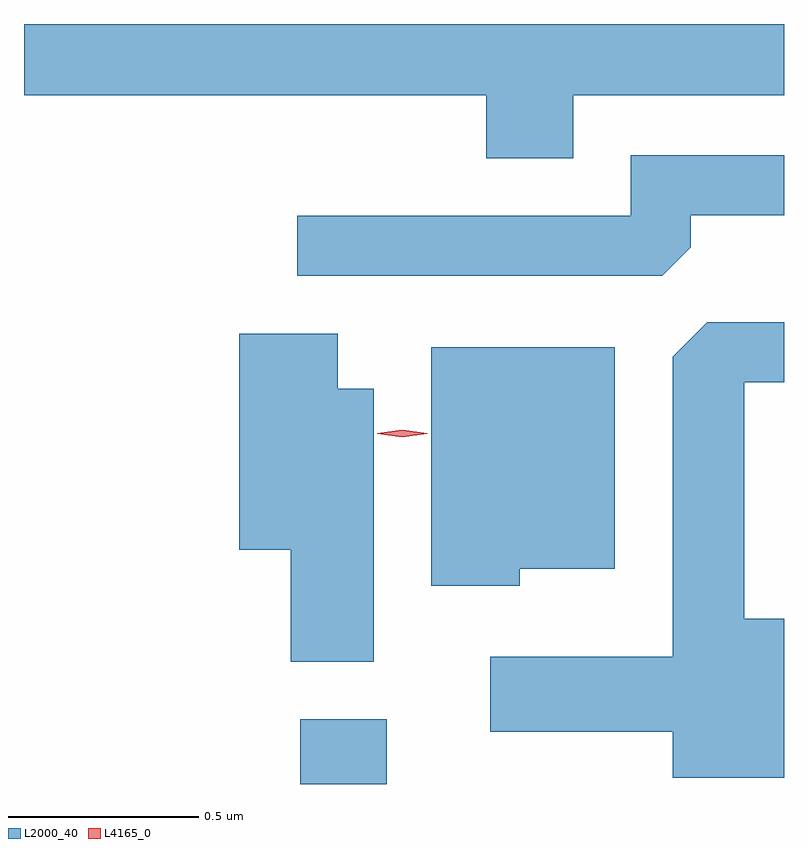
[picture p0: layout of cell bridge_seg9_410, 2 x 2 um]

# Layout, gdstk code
import gdstk
lib = gdstk.Library(unit=1e-6, precision=1e-09)
def R(c, l, rs):  # rectangles x0, y0, x1, y1
    for r in rs: c.add(gdstk.rectangle(r[:2], r[2:], *l))
def P(c, l, *ps):  # polygons
    for p in ps: c.add(gdstk.Polygon(p, *l))
L2000_40 = (2000, 40)
L4165_0 = (4165, 0)

bridge_seg9_410 = lib.new_cell('bridge_seg9_410')
R(bridge_seg9_410, L2000_40, [(971.601,1963.364,971.829,1963.534)])
P(bridge_seg9_410, L2000_40, [(972.319,1965.176),(972.874,1965.176),(972.874,1965.364),(970.874,1965.364),(970.874,1965.176),(972.091,1965.176),(972.091,1965.011),(972.319,1965.011)],
  [(972.629,1964.777),(972.629,1964.861),(972.874,1964.861),(972.874,1965.019),(972.471,1965.019),(972.471,1964.859),(971.593,1964.859),(971.593,1964.701),(972.554,1964.701)],
  [(972.874,1963.799),(972.769,1963.799),(972.769,1964.421),(972.874,1964.421),(972.874,1964.579),(972.672,1964.579),(972.581,1964.489),(972.581,1963.699),(972.101,1963.699),(972.101,1963.501),(972.581,1963.501),(972.581,1963.381),(972.874,1963.381)],
  [(971.794,1964.404),(971.699,1964.404),(971.699,1964.549),(971.441,1964.549),(971.441,1963.981),(971.576,1963.981),(971.576,1963.686),(971.794,1963.686)],
  [(972.179,1963.931),(972.429,1963.931),(972.429,1964.514),(971.946,1964.514),(971.946,1963.886),(972.179,1963.886)])
P(bridge_seg9_410, L4165_0, [(971.869,1964.276),(971.803,1964.286),(971.803,1964.286),(971.803,1964.287),(971.869,1964.296),(971.935,1964.287),(971.935,1964.286),(971.935,1964.286)])

lib.write_gds('bridge_seg9_410.gds')
